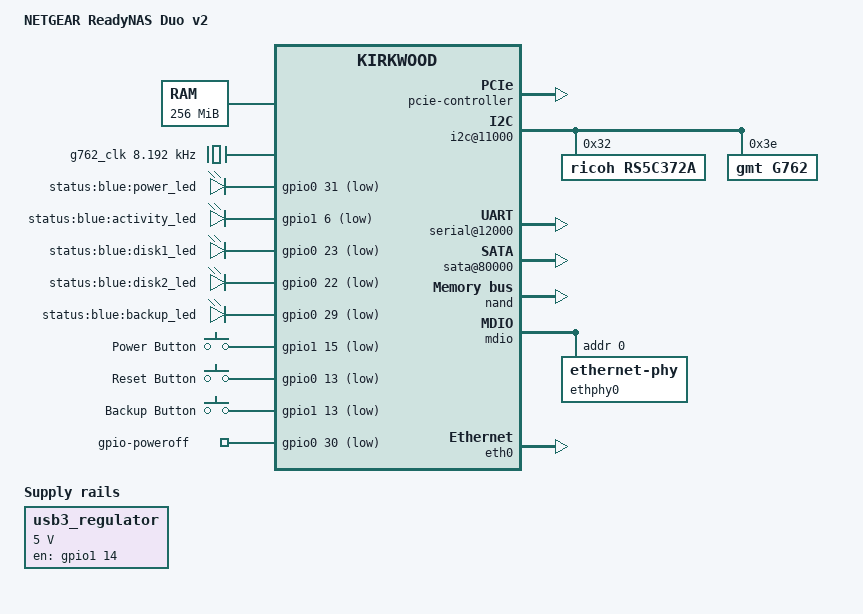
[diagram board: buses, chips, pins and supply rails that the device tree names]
/*
 * Device Tree file for NETGEAR ReadyNAS Duo v2
 *
 * Copyright (C) 2013, Arnaud EBALARD <arno@natisbad.org>
 *
 * This program is free software; you can redistribute it and/or
 * modify it under the terms of the GNU General Public License
 * as published by the Free Software Foundation; either version
 * 2 of the License, or (at your option) any later version.
 */

/dts-v1/;

#include "kirkwood.dtsi"
#include "kirkwood-6282.dtsi"

/ {
	model = "NETGEAR ReadyNAS Duo v2";
	compatible = "netgear,readynas-duo-v2", "netgear,readynas", "marvell,kirkwood-88f6282", "marvell,kirkwood";

	memory { /* 256 MB */
		device_type = "memory";
		reg = <0x00000000 0x10000000>;
	};

	chosen {
		bootargs = "console=ttyS0,115200n8 earlyprintk";
	};

	mbus {
		pcie-controller {
			status = "okay";

			pcie@1,0 {
				status = "okay";
			};
		};
	};

	ocp@f1000000 {
		pinctrl: pinctrl@10000 {
			pmx_button_power: pmx-button-power {
				marvell,pins = "mpp47";
				marvell,function = "gpio";
			};

			pmx_button_backup: pmx-button-backup {
				marvell,pins = "mpp45";
				marvell,function = "gpio";
			};

			pmx_button_reset: pmx-button-reset {
				marvell,pins = "mpp13";
				marvell,function = "gpio";
			};

			pmx_led_blue_power: pmx-led-blue-power {
				marvell,pins = "mpp31";
				marvell,function = "gpio";
			};

			pmx_led_blue_activity: pmx-led-blue-activity {
				marvell,pins = "mpp38";
				marvell,function = "gpio";
			};

			pmx_led_blue_disk1: pmx-led-blue-disk1 {
				marvell,pins = "mpp23";
				marvell,function = "gpio";
			};

			pmx_led_blue_disk2: pmx-led-blue-disk2 {
				marvell,pins = "mpp22";
				marvell,function = "gpio";
			};

			pmx_led_blue_backup: pmx-led-blue-backup {
				marvell,pins = "mpp29";
				marvell,function = "gpio";
			};

			pmx_poweroff: pmx-poweroff {
				marvell,pins = "mpp30";
				marvell,function = "gpio";
			};
		};

		clocks {
		       g762_clk: g762-oscillator {
				 compatible = "fixed-clock";
				 #clock-cells = <0>;
				 clock-frequency = <8192>;
		       };
		};

		i2c@11000 {
			status = "okay";

			rs5c372a: rs5c372a@32 {
				compatible = "ricoh,rs5c372a";
				reg = <0x32>;
			};

			g762: g762@3e {
				compatible = "gmt,g762";
				reg = <0x3e>;
				clocks = <&g762_clk>; /* input clock */
				fan_gear_mode = <0>;
				fan_startv = <1>;
				pwm_polarity = <0>;
			};
		};

		serial@12000 {
			pinctrl-0 = <&pmx_uart0>;
			pinctrl-names = "default";
			status = "okay";
		};

		sata@80000 {
			status = "okay";
			nr-ports = <2>;
		};
	};

	gpio-leds {
		compatible = "gpio-leds";
		pinctrl-0 = < &pmx_led_blue_power &pmx_led_blue_activity
			      &pmx_led_blue_disk1 &pmx_led_blue_disk2
			      &pmx_led_blue_backup >;
		pinctrl-names = "default";

		power_led {
			label = "status:blue:power_led";
			gpios = <&gpio0 31 GPIO_ACTIVE_LOW>;
			default-state = "keep";
		};

		activity_led {
			label = "status:blue:activity_led";
			gpios = <&gpio1 6 GPIO_ACTIVE_LOW>;
		};

		disk1_led {
			label = "status:blue:disk1_led";
			gpios = <&gpio0 23 GPIO_ACTIVE_LOW>;
		};

		disk2_led {
			label = "status:blue:disk2_led";
			gpios = <&gpio0 22 GPIO_ACTIVE_LOW>;
		};

		backup_led {
			label = "status:blue:backup_led";
			gpios = <&gpio0 29 GPIO_ACTIVE_LOW>;
		};
	};

	gpio-keys {
		compatible = "gpio-keys";
		pinctrl-0 = <&pmx_button_power &pmx_button_backup
			     &pmx_button_reset>;
		pinctrl-names = "default";

		power-button {
			label = "Power Button";
			linux,code = <KEY_POWER>;
			gpios = <&gpio1 15 GPIO_ACTIVE_LOW>;
		};

		reset-button {
			label = "Reset Button";
			linux,code = <KEY_RESTART>;
			gpios = <&gpio0 13 GPIO_ACTIVE_LOW>;
		};

		backup-button {
			label = "Backup Button";
			linux,code = <KEY_COPY>;
			gpios = <&gpio1 13 GPIO_ACTIVE_LOW>;
		};
	};

	gpio-poweroff {
		compatible = "gpio-poweroff";
		pinctrl-0 = <&pmx_poweroff>;
		pinctrl-names = "default";
		gpios = <&gpio0 30 GPIO_ACTIVE_LOW>;
	};

	regulators {
		compatible = "simple-bus";
		#address-cells = <1>;
		#size-cells = <0>;

		usb3_regulator: usb3-regulator {
			compatible = "regulator-fixed";
			reg = <1>;
			regulator-name = "USB 3.0 Power";
			regulator-min-microvolt = <5000000>;
			regulator-max-microvolt = <5000000>;
			enable-active-high;
			regulator-always-on;
			regulator-boot-on;
			gpio = <&gpio1 14 GPIO_ACTIVE_HIGH>;
		};
	};
};

&nand {
	status = "okay";

	partition@0 {
		label = "u-boot";
		reg = <0x0000000 0x180000>;
		read-only;
	};

	partition@180000 {
		label = "u-boot-env";
		reg = <0x180000 0x20000>;
	};

	partition@200000 {
		label = "uImage";
		reg = <0x0200000 0x600000>;
	};

	partition@800000 {
		label = "minirootfs";
		reg = <0x0800000 0x1000000>;
	};

	partition@1800000 {
		label = "jffs2";
		reg = <0x1800000 0x6800000>;
	};
};

&mdio {
	status = "okay";

	ethphy0: ethernet-phy@0 { /* Marvell 88E1318 */
		reg = <0>;
	};
};

&eth0 {
	status = "okay";
	ethernet0-port@0 {
		phy-handle = <&ethphy0>;
	};
};
